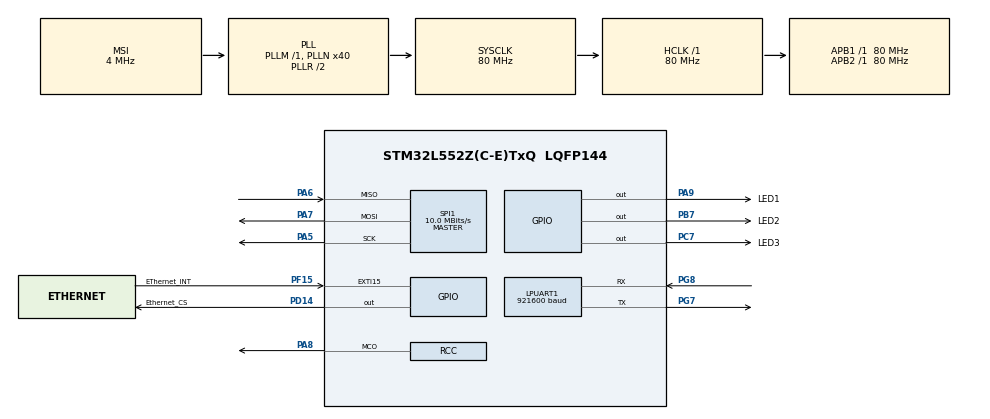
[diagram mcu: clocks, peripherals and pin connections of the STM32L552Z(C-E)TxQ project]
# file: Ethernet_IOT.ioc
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Dma.LPUART1_TX.0.Channel_PRIV_NPRIV=DMA_CHANNEL_NPRIV_DISABLE
Dma.LPUART1_TX.0.Direction=DMA_MEMORY_TO_PERIPH
Dma.LPUART1_TX.0.EventEnable=DISABLE
Dma.LPUART1_TX.0.Instance=DMA1_Channel1
Dma.LPUART1_TX.0.MemDataAlignment=DMA_MDATAALIGN_BYTE
Dma.LPUART1_TX.0.MemInc=DMA_MINC_ENABLE
Dma.LPUART1_TX.0.Mode=DMA_NORMAL
Dma.LPUART1_TX.0.PeriphDataAlignment=DMA_PDATAALIGN_BYTE
Dma.LPUART1_TX.0.PeriphInc=DMA_PINC_DISABLE
Dma.LPUART1_TX.0.Polarity=HAL_DMAMUX_REQ_GEN_RISING
Dma.LPUART1_TX.0.Priority=DMA_PRIORITY_LOW
Dma.LPUART1_TX.0.RequestNumber=1
Dma.LPUART1_TX.0.SignalID=NONE
Dma.LPUART1_TX.0.SyncEnable=DISABLE
Dma.LPUART1_TX.0.SyncPolarity=HAL_DMAMUX_SYNC_NO_EVENT
Dma.LPUART1_TX.0.SyncRequestNumber=1
Dma.LPUART1_TX.0.SyncSignalID=NONE
Dma.Request0=LPUART1_TX
FREERTOS.Mutexes01=debugMsgMutex,Dynamic,NULL,Available;enc28j60Mutex,Dynamic,NULL,Available
FREERTOS.Tasks01=ledStatus,24,128,ledStatusTask,Default,NULL,Dynamic,NULL,NULL;debugPrint,24,256,debugPrintTask,As external,NULL,Dynamic,NULL,NULL;ipConnect,24,512,ipConnectivityMainTask,As external,NULL,Dynamic,NULL,NULL;ipTransmit,24,512,ipTransmitTask,As external,NULL,Dynamic,NULL,NULL
FREERTOS.configUSE_NEWLIB_REENTRANT=1
LPUART1.BaudRate=921600
LPUART1.Mode=UART_MODE_TX
Mcu.Family=STM32L5
Mcu.Name=STM32L552Z(C-E)TxQ
Mcu.Package=LQFP144
Mcu.TrustZone=disable
NVIC.DMA1_Channel1_IRQn=true\:5\:0\:false\:false\:true\:true\:false\:true\:true
NVIC.EXTI15_IRQn=true\:5\:0\:false\:false\:true\:true\:true\:true\:true
NVIC.LPUART1_IRQn=true\:5\:0\:false\:false\:true\:true\:true\:true\:true
NVIC.PriorityGroup=NVIC_PRIORITYGROUP_3
NVIC.SPI1_IRQn=true\:5\:0\:false\:false\:true\:true\:true\:true\:true
NVIC.TIM1_UP_IRQn=true\:7\:0\:false\:false\:true\:false\:false\:true\:true
NVIC.TIM2_IRQn=true\:5\:0\:false\:false\:true\:true\:true\:true\:true
NVIC.TimeBase=TIM1_UP_IRQn
NVIC.TimeBaseIP=TIM1
PA13\ (JTMS/SWDIO).Signal=DEBUG_JTMS-SWDIO
PA14\ (JTCK/SWCLK).Signal=DEBUG_JTCK-SWCLK
PA5.Mode=Full_Duplex_Master
PA5.Signal=SPI1_SCK
PA6.Mode=Full_Duplex_Master
PA6.Signal=SPI1_MISO
PA7.Mode=Full_Duplex_Master
PA7.Signal=SPI1_MOSI
PA8.Mode=Clock-out
PA8.Signal=RCC_MCO
PA9.GPIO_Label=LED1
PA9.Signal=GPIO_Output
PB3\ (JTDO/TRACESWO).Signal=DEBUG_JTDO-SWO
PB7.GPIO_Label=LED2
PB7.Signal=GPIO_Output
PC14-OSC32_IN\ (PC14).Mode=LSE-External-Oscillator
PC14-OSC32_IN\ (PC14).Signal=RCC_OSC32_IN
PC15-OSC32_OUT\ (PC15).Mode=LSE-External-Oscillator
PC15-OSC32_OUT\ (PC15).Signal=RCC_OSC32_OUT
PC7.GPIO_Label=LED3
PC7.Signal=GPIO_Output
PD14.GPIO_Label=Ethernet_CS
PD14.GPIO_ModeDefaultOutputPP=GPIO_MODE_OUTPUT_PP
PD14.GPIO_PuPd=GPIO_NOPULL
PD14.GPIO_Speed=GPIO_SPEED_FREQ_VERY_HIGH
PD14.PinState=GPIO_PIN_SET
PD14.Signal=GPIO_Output
PF15.GPIO_Label=EThernet_INT
PF15.GPIO_ModeDefaultEXTI=GPIO_MODE_IT_FALLING
PF15.GPIO_PuPd=GPIO_NOPULL
PF15.Signal=GPXTI15
PG7.Mode=Asynchronous
PG7.Signal=LPUART1_TX
PG8.Mode=Asynchronous
PG8.Signal=LPUART1_RX
PH0-OSC_IN\ (PH0).Mode=HSE-External-Oscillator
PH0-OSC_IN\ (PH0).Signal=RCC_OSC_IN
PH1-OSC_OUT\ (PH1).Mode=HSE-External-Oscillator
PH1-OSC_OUT\ (PH1).Signal=RCC_OSC_OUT
ProjectManager.HeapSize=0x200
ProjectManager.StackSize=0x400
ProjectManager.TargetToolchain=STM32CubeIDE
RCC.ADCCLockSelection=RCC_ADCCLKSOURCE_SYSCLK
RCC.ADCFreq_Value=80000000
RCC.AHBFreq_Value=80000000
RCC.APB1Freq_Value=80000000
RCC.APB1TimFreq_Value=80000000
RCC.APB2Freq_Value=80000000
RCC.APB2TimFreq_Value=80000000
RCC.CK48CLockSelection=RCC_USBCLKSOURCE_HSI48
RCC.CortexFreq_Value=80000000
RCC.HCLKFreq_Value=80000000
RCC.HSE_VALUE=8000000
RCC.HSI48_VALUE=48000000
RCC.HSI_VALUE=16000000
RCC.MSI_VALUE=4000000
RCC.PLLN=40
RCC.PLLSAI1N=24
RCC.RTCClockSelection=RCC_RTCCLKSOURCE_LSE
RCC.SYSCLKFreq_VALUE=80000000
RCC.SYSCLKSource=RCC_SYSCLKSOURCE_PLLCLK
RCC.USBFreq_Value=48000000
RCC.VCOOutputFreq_Value=160000000
SPI1.BaudRatePrescaler=SPI_BAUDRATEPRESCALER_8
SPI1.CalculateBaudRate=10.0 MBits/s
SPI1.DataSize=SPI_DATASIZE_8BIT
SPI1.Direction=SPI_DIRECTION_2LINES
SPI1.Mode=SPI_MODE_MASTER
SPI1.VirtualType=VM_MASTER
TIM2.AutoReloadPreload=TIM_AUTORELOAD_PRELOAD_DISABLE
TIM2.Period=7
TIM2.Prescaler=9999
VP_FREERTOS_VS_CMSIS_V2.Mode=CMSIS_V2
VP_ICACHE_VS_ICACHE.Mode=DirectMappedCache
VP_PWR_VS_DBSignals.Mode=DisableDeadBatterySignals
VP_PWR_VS_SECSignals.Mode=Security/Privilege
VP_SYS_VS_tim1.Mode=TIM1
VP_TIM2_VS_ClockSourceINT.Mode=Internal
board=NUCLEO-L552ZE-Q

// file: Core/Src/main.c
/* USER CODE BEGIN Header */
/**
  ******************************************************************************
  * @file           : main.c
  * @brief          : Main program body
  ******************************************************************************
  * @attention
  *
  * Copyright (c) 2025 STMicroelectronics.
  * All rights reserved.
  *
  * This software is licensed under terms that can be found in the LICENSE file
  * in the root directory of this software component.
  * If no LICENSE file comes with this software, it is provided AS-IS.
  *
  ******************************************************************************
  */
/* USER CODE END Header */
#include "main.h"
#include "cmsis_os.h"

/* USER CODE BEGIN Includes */
#include "lwip/init.h"
#include "lwip/netif.h"
#include "netif/ethernet.h"
#include "ipTask.h"
#include "FreeRTOS.h"
#include "semphr.h"
#include "lwip/dhcp.h"
/* USER CODE END Includes */

/* USER CODE BEGIN PTD */
typedef void (*ptrMillisCallBack)(void);
typedef struct timer
{
	struct timer * next;
	volatile uint32_t u32milliseconds;
	volatile uint32_t u32MaxValue;
	ptrMillisCallBack callback;
}timer_t;
/* USER CODE END PTD */

/* USER CODE BEGIN PD */
#define MAX_TIMERS	10
/* USER CODE END PD */

UART_HandleTypeDef hlpuart1;
DMA_HandleTypeDef hdma_lpuart1_tx;

SPI_HandleTypeDef hspi1;

TIM_HandleTypeDef htim2;

/* Definitions for ledStatus */
osThreadId_t ledStatusHandle;
const osThreadAttr_t ledStatus_attributes = {
  .name = "ledStatus",
  .priority = (osPriority_t) osPriorityNormal,
  .stack_size = 128 * 4
};
/* Definitions for debugPrint */
osThreadId_t debugPrintHandle;
const osThreadAttr_t debugPrint_attributes = {
  .name = "debugPrint",
  .priority = (osPriority_t) osPriorityNormal,
  .stack_size = 256 * 4
};
/* Definitions for ipConnect */
osThreadId_t ipConnectHandle;
const osThreadAttr_t ipConnect_attributes = {
  .name = "ipConnect",
  .priority = (osPriority_t) osPriorityNormal,
  .stack_size = 512 * 4
};
/* Definitions for ipTransmit */
osThreadId_t ipTransmitHandle;
const osThreadAttr_t ipTransmit_attributes = {
  .name = "ipTransmit",
  .priority = (osPriority_t) osPriorityNormal,
  .stack_size = 512 * 4
};
/* Definitions for debugMsgMutex */
osMutexId_t debugMsgMutexHandle;
const osMutexAttr_t debugMsgMutex_attributes = {
  .name = "debugMsgMutex"
};
/* Definitions for enc28j60Mutex */
osMutexId_t enc28j60MutexHandle;
const osMutexAttr_t enc28j60Mutex_attributes = {
  .name = "enc28j60Mutex"
};

void SystemClock_Config(void);
static void MX_GPIO_Init(void);
static void MX_DMA_Init(void);
static void MX_ICACHE_Init(void);
static void MX_SPI1_Init(void);
static void MX_TIM2_Init(void);
static void MX_LPUART1_UART_Init(void);
void ledStatusTask(void *argument);
extern void debugPrintTask(void *argument);
extern void ipConnectivityMainTask(void *argument);
extern void ipTransmitTask(void *argument);

timer_t timer_pool[MAX_TIMERS];
uint8_t timer_pool_index = 0;
timer_t* timer_list_head = NULL;
timer_t* create_timer(uint32_t max_value, ptrMillisCallBack cb);
void add_timer_to_list(timer_t** head, timer_t* new_timer);
void process_timers(timer_t* head);

void led_toggle_callback(void)
{
	HAL_GPIO_TogglePin(LED3_GPIO_Port, LED3_Pin);
}

timer_t* timer_list = NULL;

int main(void)
{

  /* MCU Configuration--------------------------------------------------------*/

  /* Reset of all peripherals, Initializes the Flash interface and the Systick. */
  HAL_Init();

  /* Configure the system clock */
  SystemClock_Config();

  /* Initialize all configured peripherals */
  MX_GPIO_Init();
  MX_DMA_Init();
  MX_ICACHE_Init();
  MX_SPI1_Init();
  MX_TIM2_Init();
  MX_LPUART1_UART_Init();
  /* USER CODE BEGIN 2 */

  //Add timers to the interrupt service handler.
  timer_t * timer_dhcp_fine_tmr = create_timer(500, dhcp_fine_tmr);
  timer_t * timer_dhcp_coarse_tmr = create_timer(60000, dhcp_coarse_tmr);
  timer_t * timer_led = create_timer(100, led_toggle_callback);

  // Add to linked list
  add_timer_to_list(&timer_list, timer_dhcp_fine_tmr);
  add_timer_to_list(&timer_list, timer_dhcp_coarse_tmr);
  add_timer_to_list(&timer_list, timer_led);

  HAL_TIM_Base_Start_IT(&htim2);

  /* USER CODE END 2 */

  /* Init scheduler */
  osKernelInitialize();
  /* Create the mutex(es) */
  /* creation of debugMsgMutex */
  debugMsgMutexHandle = osMutexNew(&debugMsgMutex_attributes);

  /* creation of enc28j60Mutex */
  enc28j60MutexHandle = osMutexNew(&enc28j60Mutex_attributes);

  /* Create the thread(s) */
  /* creation of ledStatus */
  ledStatusHandle = osThreadNew(ledStatusTask, NULL, &ledStatus_attributes);

  /* creation of debugPrint */
  debugPrintHandle = osThreadNew(debugPrintTask, NULL, &debugPrint_attributes);

  /* creation of ipConnect */
  ipConnectHandle = osThreadNew(ipConnectivityMainTask, NULL, &ipConnect_attributes);

  /* creation of ipTransmit */
  ipTransmitHandle = osThreadNew(ipTransmitTask, NULL, &ipTransmit_attributes);

  /* USER CODE BEGIN RTOS_THREADS */
  xSemaphoreGive(debugMsgMutexHandle);
  /* add threads, ... */
  /* USER CODE END RTOS_THREADS */

  /* Start scheduler */
  osKernelStart();

  /* We should never get here as control is now taken by the scheduler */

  /* Infinite loop */
  while (1)
  {

  }
}

void SystemClock_Config(void)
{
  RCC_OscInitTypeDef RCC_OscInitStruct = {0};
  RCC_ClkInitTypeDef RCC_ClkInitStruct = {0};

  /** Configure the main internal regulator output voltage
  */
  if (HAL_PWREx_ControlVoltageScaling(PWR_REGULATOR_VOLTAGE_SCALE1) != HAL_OK)
  {
    Error_Handler();
  }

  /** Initializes the RCC Oscillators according to the specified parameters
  * in the RCC_OscInitTypeDef structure.
  */
  RCC_OscInitStruct.OscillatorType = RCC_OSCILLATORTYPE_MSI;
  RCC_OscInitStruct.MSIState = RCC_MSI_ON;
  RCC_OscInitStruct.MSICalibrationValue = RCC_MSICALIBRATION_DEFAULT;
  RCC_OscInitStruct.MSIClockRange = RCC_MSIRANGE_6;
  RCC_OscInitStruct.PLL.PLLState = RCC_PLL_ON;
  RCC_OscInitStruct.PLL.PLLSource = RCC_PLLSOURCE_MSI;
  RCC_OscInitStruct.PLL.PLLM = 1;
  RCC_OscInitStruct.PLL.PLLN = 40;
  RCC_OscInitStruct.PLL.PLLP = RCC_PLLP_DIV7;
  RCC_OscInitStruct.PLL.PLLQ = RCC_PLLQ_DIV2;
  RCC_OscInitStruct.PLL.PLLR = RCC_PLLR_DIV2;
  if (HAL_RCC_OscConfig(&RCC_OscInitStruct) != HAL_OK)
  {
    Error_Handler();
  }

  /** Initializes the CPU, AHB and APB buses clocks
  */
  RCC_ClkInitStruct.ClockType = RCC_CLOCKTYPE_HCLK|RCC_CLOCKTYPE_SYSCLK
                              |RCC_CLOCKTYPE_PCLK1|RCC_CLOCKTYPE_PCLK2;
  RCC_ClkInitStruct.SYSCLKSource = RCC_SYSCLKSOURCE_PLLCLK;
  RCC_ClkInitStruct.AHBCLKDivider = RCC_SYSCLK_DIV1;
  RCC_ClkInitStruct.APB1CLKDivider = RCC_HCLK_DIV1;
  RCC_ClkInitStruct.APB2CLKDivider = RCC_HCLK_DIV1;

  if (HAL_RCC_ClockConfig(&RCC_ClkInitStruct, FLASH_LATENCY_3) != HAL_OK)
  {
    Error_Handler();
  }

  /** MCO configuration
  */
  HAL_RCC_MCOConfig(RCC_MCO1, RCC_MCO1SOURCE_SYSCLK, RCC_MCODIV_1);
}

static void MX_ICACHE_Init(void)
{

  /** Enable instruction cache in 1-way (direct mapped cache)
  */
  if (HAL_ICACHE_ConfigAssociativityMode(ICACHE_1WAY) != HAL_OK)
  {
    Error_Handler();
  }
  if (HAL_ICACHE_Enable() != HAL_OK)
  {
    Error_Handler();
  }

}

static void MX_LPUART1_UART_Init(void)
{

  hlpuart1.Instance = LPUART1;
  hlpuart1.Init.BaudRate = 921600;
  hlpuart1.Init.WordLength = UART_WORDLENGTH_8B;
  hlpuart1.Init.StopBits = UART_STOPBITS_1;
  hlpuart1.Init.Parity = UART_PARITY_NONE;
  hlpuart1.Init.Mode = UART_MODE_TX;
  hlpuart1.Init.HwFlowCtl = UART_HWCONTROL_NONE;
  hlpuart1.Init.OneBitSampling = UART_ONE_BIT_SAMPLE_DISABLE;
  hlpuart1.Init.ClockPrescaler = UART_PRESCALER_DIV1;
  hlpuart1.AdvancedInit.AdvFeatureInit = UART_ADVFEATURE_NO_INIT;
  hlpuart1.FifoMode = UART_FIFOMODE_DISABLE;
  if (HAL_UART_Init(&hlpuart1) != HAL_OK)
  {
    Error_Handler();
  }
  if (HAL_UARTEx_SetTxFifoThreshold(&hlpuart1, UART_TXFIFO_THRESHOLD_1_8) != HAL_OK)
  {
    Error_Handler();
  }
  if (HAL_UARTEx_SetRxFifoThreshold(&hlpuart1, UART_RXFIFO_THRESHOLD_1_8) != HAL_OK)
  {
    Error_Handler();
  }
  if (HAL_UARTEx_DisableFifoMode(&hlpuart1) != HAL_OK)
  {
    Error_Handler();
  }

}

static void MX_SPI1_Init(void)
{

  /* SPI1 parameter configuration*/
  hspi1.Instance = SPI1;
  hspi1.Init.Mode = SPI_MODE_MASTER;
  hspi1.Init.Direction = SPI_DIRECTION_2LINES;
  hspi1.Init.DataSize = SPI_DATASIZE_8BIT;
  hspi1.Init.CLKPolarity = SPI_POLARITY_LOW;
  hspi1.Init.CLKPhase = SPI_PHASE_1EDGE;
  hspi1.Init.NSS = SPI_NSS_SOFT;
  hspi1.Init.BaudRatePrescaler = SPI_BAUDRATEPRESCALER_8;
  hspi1.Init.FirstBit = SPI_FIRSTBIT_MSB;
  hspi1.Init.TIMode = SPI_TIMODE_DISABLE;
  hspi1.Init.CRCCalculation = SPI_CRCCALCULATION_DISABLE;
  hspi1.Init.CRCPolynomial = 7;
  hspi1.Init.CRCLength = SPI_CRC_LENGTH_DATASIZE;
  hspi1.Init.NSSPMode = SPI_NSS_PULSE_ENABLE;
  if (HAL_SPI_Init(&hspi1) != HAL_OK)
  {
    Error_Handler();
  }

}

static void MX_TIM2_Init(void)
{

  TIM_ClockConfigTypeDef sClockSourceConfig = {0};
  TIM_MasterConfigTypeDef sMasterConfig = {0};

  htim2.Instance = TIM2;
  htim2.Init.Prescaler = 9999;
  htim2.Init.CounterMode = TIM_COUNTERMODE_UP;
  htim2.Init.Period = 7;
  htim2.Init.ClockDivision = TIM_CLOCKDIVISION_DIV1;
  htim2.Init.AutoReloadPreload = TIM_AUTORELOAD_PRELOAD_DISABLE;
  if (HAL_TIM_Base_Init(&htim2) != HAL_OK)
  {
    Error_Handler();
  }
  sClockSourceConfig.ClockSource = TIM_CLOCKSOURCE_INTERNAL;
  if (HAL_TIM_ConfigClockSource(&htim2, &sClockSourceConfig) != HAL_OK)
  {
    Error_Handler();
  }
  sMasterConfig.MasterOutputTrigger = TIM_TRGO_RESET;
  sMasterConfig.MasterSlaveMode = TIM_MASTERSLAVEMODE_DISABLE;
  if (HAL_TIMEx_MasterConfigSynchronization(&htim2, &sMasterConfig) != HAL_OK)
  {
    Error_Handler();
  }

}

static void MX_DMA_Init(void)
{

  /* DMA controller clock enable */
  __HAL_RCC_DMAMUX1_CLK_ENABLE();
  __HAL_RCC_DMA1_CLK_ENABLE();

  /* DMA interrupt init */
  /* DMA1_Channel1_IRQn interrupt configuration */
  HAL_NVIC_SetPriority(DMA1_Channel1_IRQn, 5, 0);
  HAL_NVIC_EnableIRQ(DMA1_Channel1_IRQn);

}

static void MX_GPIO_Init(void)
{
  GPIO_InitTypeDef GPIO_InitStruct = {0};

  /* GPIO Ports Clock Enable */
  __HAL_RCC_GPIOC_CLK_ENABLE();
  __HAL_RCC_GPIOH_CLK_ENABLE();
  __HAL_RCC_GPIOA_CLK_ENABLE();
  __HAL_RCC_GPIOF_CLK_ENABLE();
  __HAL_RCC_GPIOD_CLK_ENABLE();
  __HAL_RCC_GPIOG_CLK_ENABLE();
  HAL_PWREx_EnableVddIO2();
  __HAL_RCC_GPIOB_CLK_ENABLE();

  /*Configure GPIO pin Output Level */
  HAL_GPIO_WritePin(Ethernet_CS_GPIO_Port, Ethernet_CS_Pin, GPIO_PIN_SET);

  /*Configure GPIO pin Output Level */
  HAL_GPIO_WritePin(LED3_GPIO_Port, LED3_Pin, GPIO_PIN_RESET);

  /*Configure GPIO pin Output Level */
  HAL_GPIO_WritePin(LED1_GPIO_Port, LED1_Pin, GPIO_PIN_RESET);

  /*Configure GPIO pin Output Level */
  HAL_GPIO_WritePin(LED2_GPIO_Port, LED2_Pin, GPIO_PIN_RESET);

  /*Configure GPIO pin : EThernet_INT_Pin */
  GPIO_InitStruct.Pin = EThernet_INT_Pin;
  GPIO_InitStruct.Mode = GPIO_MODE_IT_FALLING;
  GPIO_InitStruct.Pull = GPIO_NOPULL;
  HAL_GPIO_Init(EThernet_INT_GPIO_Port, &GPIO_InitStruct);

  /*Configure GPIO pin : Ethernet_CS_Pin */
  GPIO_InitStruct.Pin = Ethernet_CS_Pin;
  GPIO_InitStruct.Mode = GPIO_MODE_OUTPUT_PP;
  GPIO_InitStruct.Pull = GPIO_NOPULL;
  GPIO_InitStruct.Speed = GPIO_SPEED_FREQ_VERY_HIGH;
  HAL_GPIO_Init(Ethernet_CS_GPIO_Port, &GPIO_InitStruct);

  /*Configure GPIO pin : LED3_Pin */
  GPIO_InitStruct.Pin = LED3_Pin;
  GPIO_InitStruct.Mode = GPIO_MODE_OUTPUT_PP;
  GPIO_InitStruct.Pull = GPIO_NOPULL;
  GPIO_InitStruct.Speed = GPIO_SPEED_FREQ_LOW;
  HAL_GPIO_Init(LED3_GPIO_Port, &GPIO_InitStruct);

  /*Configure GPIO pin : PA8 */
  GPIO_InitStruct.Pin = GPIO_PIN_8;
  GPIO_InitStruct.Mode = GPIO_MODE_AF_PP;
  GPIO_InitStruct.Pull = GPIO_NOPULL;
  GPIO_InitStruct.Speed = GPIO_SPEED_FREQ_LOW;
  GPIO_InitStruct.Alternate = GPIO_AF0_MCO;
  HAL_GPIO_Init(GPIOA, &GPIO_InitStruct);

  /*Configure GPIO pin : LED1_Pin */
  GPIO_InitStruct.Pin = LED1_Pin;
  GPIO_InitStruct.Mode = GPIO_MODE_OUTPUT_PP;
  GPIO_InitStruct.Pull = GPIO_NOPULL;
  GPIO_InitStruct.Speed = GPIO_SPEED_FREQ_LOW;
  HAL_GPIO_Init(LED1_GPIO_Port, &GPIO_InitStruct);

  /*Configure GPIO pin : LED2_Pin */
  GPIO_InitStruct.Pin = LED2_Pin;
  GPIO_InitStruct.Mode = GPIO_MODE_OUTPUT_PP;
  GPIO_InitStruct.Pull = GPIO_NOPULL;
  GPIO_InitStruct.Speed = GPIO_SPEED_FREQ_LOW;
  HAL_GPIO_Init(LED2_GPIO_Port, &GPIO_InitStruct);

  /* EXTI interrupt init*/
  HAL_NVIC_SetPriority(EXTI15_IRQn, 5, 0);
  HAL_NVIC_EnableIRQ(EXTI15_IRQn);

}

/* USER CODE BEGIN 4 */
void HAL_GPIO_EXTI_Falling_Callback(uint16_t GPIO_Pin)
{
	if(GPIO_Pin == GPIO_PIN_15)
	{
		//send a notification to the task
		BaseType_t xHigherPriorityTaskWoken;
		xHigherPriorityTaskWoken = pdFALSE;
		vTaskNotifyGiveFromISR((TaskHandle_t)  ipConnectHandle, &xHigherPriorityTaskWoken);
		portYIELD_FROM_ISR(xHigherPriorityTaskWoken);
	}

}

timer_t* create_timer(uint32_t max_value, ptrMillisCallBack cb)
{
    if(timer_pool_index >= MAX_TIMERS || cb == NULL)
        return NULL;

    timer_t* new_timer = &timer_pool[timer_pool_index++];
    new_timer->u32milliseconds = 0;
    new_timer->u32MaxValue = max_value;
    new_timer->callback = cb;
    new_timer->next = NULL;

    return new_timer;
}

void add_timer_to_list(timer_t** head, timer_t* new_timer)
{
    if(new_timer == NULL) return;

    new_timer->next = *head;
    *head = new_timer;
}

// SAFE process_timers - with protection against circular lists
void process_timers(timer_t* head)
{
    timer_t* current = head;
    uint8_t safety_counter = 0;
    const uint8_t MAX_ITERATIONS = MAX_TIMERS * 2; // Safety limit

    while(current != NULL && safety_counter < MAX_ITERATIONS)
    {
        safety_counter++;

        if(current->callback != NULL) // Check for valid callback
        {
            current->u32milliseconds++;
            if(current->u32milliseconds >= current->u32MaxValue)
            {
                current->callback();  // Execute callback
                current->u32milliseconds = 0;  // Reset timer
            }
        }

        current = current->next;
    }

    // If we hit the safety limit, there's likely a circular list
    if(safety_counter >= MAX_ITERATIONS)
    {
        // Handle error - reset timer list or take corrective action
        timer_list_head = NULL;
        timer_pool_index = 0;
    }
}
/* USER CODE END 4 */

void ledStatusTask(void *argument)
{
  /* USER CODE BEGIN 5 */

  /* Infinite loop */
  while(1)
  {
	  vTaskDelay(100 / portTICK_PERIOD_MS);
	  HAL_GPIO_TogglePin(LED1_GPIO_Port, LED1_Pin);
	  HAL_GPIO_TogglePin(LED2_GPIO_Port, LED2_Pin);
  }
  /* USER CODE END 5 */
}

void HAL_TIM_PeriodElapsedCallback(TIM_HandleTypeDef *htim)
{
  if (htim->Instance == TIM1)
  {
    HAL_IncTick();
  }
  /* USER CODE BEGIN Callback 1 */
  else if (htim->Instance == TIM2)
  {
	  extern volatile uint32_t u32milliSeconds;
	  u32milliSeconds++;

	  process_timers(timer_list);
  }

  /* USER CODE END Callback 1 */
}

void Error_Handler(void)
{
  __disable_irq();
  while (1)
  {
  }
}
